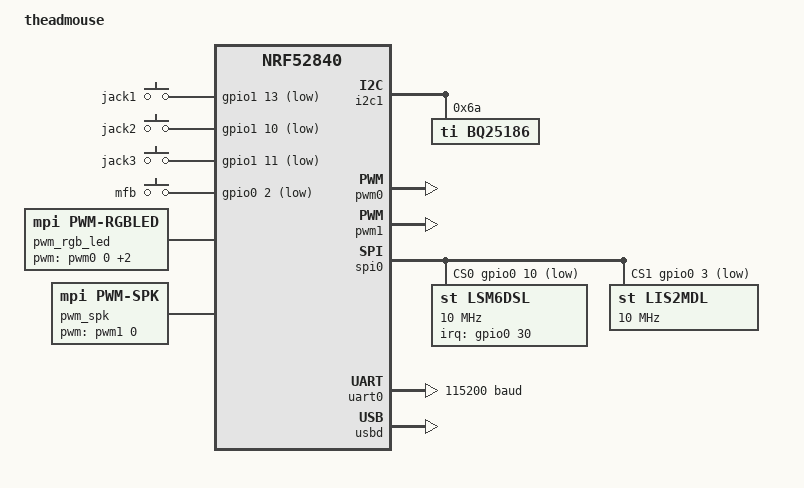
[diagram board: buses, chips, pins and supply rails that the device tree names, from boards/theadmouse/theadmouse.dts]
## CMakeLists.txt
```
cmake_minimum_required(VERSION 3.20.0)

find_package(Zephyr)
project(theadmouse)

target_sources(app PRIVATE
		src/main.c

		src/app_power_manager.c
		src/at_cmd.c
		src/at_cmd_param.c
		src/ble.c
		src/ble_hid_service.c
		src/button_manager.c
		src/cmd_uart.c
		src/headmouse_input.c
		src/motion_engine.c
		src/slot_manager.c

		src/MadgwickAHRS/MadgwickAHRS.c

		src/keymaps/KeyboardLayout_da_DK.c
		src/keymaps/KeyboardLayout_de_DE.c
		src/keymaps/KeyboardLayout_en_US.c
		src/keymaps/KeyboardLayout_es_ES.c
		src/keymaps/KeyboardLayout_fr_FR.c
		src/keymaps/KeyboardLayout_hu_HU.c
		src/keymaps/KeyboardLayout_it_IT.c
		src/keymaps/KeyboardLayout_pt_BR.c
		src/keymaps/KeyboardLayout_pt_PT.c
		src/keymaps/KeyboardLayout_sv_SE.c
)

if(CONFIG_TELEMETRY)
	target_sources(app PRIVATE src/telemetry_uart.c)
endif()

if(CONFIG_LSM6DSL_CUSTOM)
	target_sources(app PRIVATE
		drivers/sensor/st/lsm6dsl/lsm6dsl.c
		drivers/sensor/st/lsm6dsl/lsm6dsl_i2c.c
		drivers/sensor/st/lsm6dsl/lsm6dsl_spi.c
	)

	if (CONFIG_LSM6DSL_TRIGGER)
		target_sources(app PRIVATE drivers/sensor/st/lsm6dsl/lsm6dsl_trigger.c)
	endif()

	if (CONFIG_LSM6DSL_SENSORHUB)
		target_sources(app PRIVATE drivers/sensor/st/lsm6dsl/lsm6dsl_trigger.c)
	endif()
endif()

if(CONFIG_LIS2MDL_CUSTOM)
	target_include_directories(app PRIVATE ${ZEPHYR_BASE}/drivers/sensor/st/stmemsc)

	target_sources(app PRIVATE drivers/sensor/st/lis2mdl/lis2mdl.c)

	if (CONFIG_LIS2MDL_TRIGGER)
		target_sources(app PRIVATE drivers/sensor/st/lis2mdl/lis2mdl_trigger.c)
	endif()
endif()

if(CONFIG_CHARGER_BQ2518X_CUSTOM)
	target_include_directories(app PRIVATE ${ZEPHYR_BASE}/drivers/charger)
	target_sources(app PRIVATE drivers/charger/charger_bq2518x.c)
endif()
```

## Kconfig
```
mainmenu "theadmouse"

menu "TheadMouse Configuration"

config APP_PROJECT_NAME
	string "Project name"
	default "TheadMouse"
	help
		Human-readable name of this firmware/application

config TELEMETRY
	bool "Enable telemetry"
	default n
	help
		Enable the telemetry data stream using a separate USB CDC port.

if TELEMETRY
	config TELEMETRY_PLAINTEXT
	bool "Enable plaintext telemetry"
	default n
	help
		If enabled telemetry will be sent in plaintext which can be slow.

	config TELEMETRY_DECIM_FACTOR
		int "Telemetry decimation factor"
		default 10
		range 1 1000
		help
			Sets the downsampling ration for the telemetry stream.

			Data will be sent out only every Nth IMU data trigger.
endif # TELEMETRY

menu "Logging Configuration"

module = THEADMOUSE
module-str = theadmouse
source "subsys/logging/Kconfig.template.log_config"

module = AT
module-str = at
source "subsys/logging/Kconfig.template.log_config"

module = BLE
module-str = ble
source "subsys/logging/Kconfig.template.log_config"

module = BLE_HID_SERVICE
module-str = ble_hid_service
source "subsys/logging/Kconfig.template.log_config"

module = BUTTON_MANAGER
module-str = button_manager
source "subsys/logging/Kconfig.template.log_config"

module = CMD_UART
module-str = cmd_uart
source "subsys/logging/Kconfig.template.log_config"

module = HEADMOUSE_INPUT
module-str = headmouse_input
source "subsys/logging/Kconfig.template.log_config"

module = MOTION_ENGINE
module-str = motion_engine
source "subsys/logging/Kconfig.template.log_config"

module = SLOT_MANAGER
module-str = slot_manager
source "subsys/logging/Kconfig.template.log_config"

module = TELEMETRY_UART
module-str = telemetry_uart
source "subsys/logging/Kconfig.template.log_config"

module = APP_POWER_MANAGER
module-str = app_power_manager
source "subsys/logging/Kconfig.template.log_config"

endmenu

rsource "drivers/sensor/st/lsm6dsl/Kconfig"
rsource "drivers/sensor/st/lis2mdl/Kconfig"
rsource "drivers/charger/Kconfig"

endmenu

source "Kconfig.zephyr"
```

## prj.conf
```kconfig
# Enable boot delay to not miss log messages at startup
# TODO: With the bigger log buffer this might not be needed anymore
# CONFIG_BOOT_DELAY=1000

# Enable logging
CONFIG_LOG=y
CONFIG_LOG_MODE_DEFERRED=y
CONFIG_LOG_BUFFER_SIZE=8192
CONFIG_LOG_SPEED=y
CONFIG_LOG_OUTPUT_FORMAT_LINUX_TIMESTAMP=y

CONFIG_THEADMOUSE_LOG_LEVEL_DBG=y
CONFIG_AT_LOG_LEVEL_DEFAULT=y
CONFIG_BLE_LOG_LEVEL_DEFAULT=y
CONFIG_BLE_HID_SERVICE_LOG_LEVEL_DBG=y
CONFIG_BUTTON_MANAGER_LOG_LEVEL_DEFAULT=y
CONFIG_CMD_UART_LOG_LEVEL_DBG=y
CONFIG_HEADMOUSE_INPUT_LOG_LEVEL_DBG=y
CONFIG_MOTION_ENGINE_LOG_LEVEL_DEFAULT=y
CONFIG_SLOT_MANAGER_LOG_LEVEL_DEFAULT=y
CONFIG_TELEMETRY_UART_LOG_LEVEL_DEFAULT=y
CONFIG_APP_POWER_MANAGER_LOG_LEVEL_DBG=y

# Enable the shell
CONFIG_SHELL=y

# CONFIG_USE_SEGGER_RTT=y
# CONFIG_SHELL_BACKEND_RTT=y

# Enable reboot functionality
CONFIG_REBOOT=y

# Enabled retainend memory support
CONFIG_RETAINED_MEM=y

# Bluetooth related settings
CONFIG_BT=y
CONFIG_BT_MAX_CONN=2
CONFIG_BT_HCI_ERR_TO_STR=y
# Allow up to 10 paired devices and overwrite the oldest
CONFIG_BT_MAX_PAIRED=10
CONFIG_BT_KEYS_OVERWRITE_OLDEST=y
CONFIG_BT_SMP_ALLOW_UNAUTH_OVERWRITE=y

# Needed to increase the MTU using `bt_gatt_exchange_mtu()`
CONFIG_BT_GATT_CLIENT=y

# 0x3c0 (960) = Generic Human Interface Device
CONFIG_BT_DEVICE_APPEARANCE=960
CONFIG_BT_DEVICE_NAME="TheadMouse"
CONFIG_BT_DEVICE_NAME_DYNAMIC=y
CONFIG_BT_PERIPHERAL=y
CONFIG_BT_SETTINGS=y
CONFIG_BT_SMP=y
CONFIG_BT_BAS=y
CONFIG_BT_DIS=y

CONFIG_BT_CONN_CTX=y

CONFIG_BT_HIDS=y
CONFIG_BT_HIDS_DEFAULT_PERM_RW_ENCRYPT=y

CONFIG_BT_GATT_UUID16_POOL_SIZE=40
CONFIG_BT_GATT_CHRC_POOL_SIZE=20

# Settings and settings storage configuration
CONFIG_SETTINGS=y
CONFIG_SETTINGS_SHELL=y
CONFIG_SETTINGS_FILE_PATH="/lfs/settings"
CONFIG_FLASH=y
CONFIG_FLASH_SHELL=y
CONFIG_FLASH_MAP=y
CONFIG_FLASH_MAP_SHELL=y

CONFIG_FILE_SYSTEM=y
CONFIG_FILE_SYSTEM_SHELL=y
CONFIG_FILE_SYSTEM_LITTLEFS=y

CONFIG_SENSOR_SHELL=y

CONFIG_HWINFO_SHELL=y
CONFIG_HW_ID_LIBRARY=y

CONFIG_GPIO_SHELL=y

CONFIG_UART_LINE_CTRL=y

CONFIG_USB_DEVICE_PRODUCT="TheadMouse"

CONFIG_INPUT=y
CONFIG_INPUT_GPIO_KEYS=y
CONFIG_INPUT_SHELL=y

CONFIG_HEAP_MEM_POOL_SIZE=8192

CONFIG_USE_DT_CODE_PARTITION=y
CONFIG_BUILD_OUTPUT_UF2=y

# TODO: This probably belongs to the board specific file
CONFIG_LSM6DSL=n
CONFIG_LSM6DSL_CUSTOM=y
CONFIG_LSM6DSL_THREAD_PRIORITY=-2
CONFIG_LSM6DSL_ENABLE_TEMP=y

CONFIG_LIS2MDL=n
CONFIG_LIS2MDL_CUSTOM=y

CONFIG_FPU=y

CONFIG_ZSL=y
CONFIG_ZSL_SINGLE_PRECISION=y
CONFIG_ZSL_PLATFORM_OPT=2
CONFIG_ZSL_BOUNDS_CHECKS=n

CONFIG_TELEMETRY=n
CONFIG_TELEMETRY_PLAINTEXT=n
CONFIG_TELEMETRY_DECIM_FACTOR=10

CONFIG_PM_DEVICE=y
CONFIG_PM_DEVICE_SHELL=y
CONFIG_PM_DEVICE_RUNTIME=n
CONFIG_PM_DEVICE_SYSTEM_MANAGED=n

CONFIG_POWEROFF=y

CONFIG_I2C_SHELL=y

# This also probably belongs to the board specific file
CONFIG_CHARGER=y
CONFIG_CHARGER_BQ2518X_CUSTOM=y

# CONFIG_THREAD_ANALYZER=y
# CONFIG_THREAD_ANALYZER_AUTO=y
# CONFIG_THREAD_ANALYZER_RUN_UNLOCKED=y
```

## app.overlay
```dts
&i2c0 {
	adxl345@53 {
		reg = <0x53>;
		compatible = "adi,adxl345";
		status = "okay";
	};

	hmc5883l@1e {
		reg = <0x1e>;
		compatible = "honeywell,hmc5883l";
		status = "okay";
	};
};

&i2c0_default {
	// Enable internal pull-ups on the I2C port
	group1 {
		bias-pull-up;
	};
};
```

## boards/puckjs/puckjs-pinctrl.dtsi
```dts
/*
 * Copyright (c) 2025 Martin Pietryka
 *
 * SPDX-License-Identifier: Apache-2.0
 */

&pinctrl {
	i2c_gyro_default: i2c_gyro_default {
		group1 {
			psels = <NRF_PSEL(TWIM_SCL, 0, 15)>,
				<NRF_PSEL(TWIM_SDA, 0, 14)>;
			bias-pull-up;
		};
	};

	i2c_gyro_sleep: i2c_gyro_sleep {
		group1 {
			psels = <NRF_PSEL(TWIM_SCL, 0, 15)>,
				<NRF_PSEL(TWIM_SDA, 0, 14)>;
			low-power-enable;
		};
	};

	pwm0_default: pwm0_default {
		group1 {
			psels = <NRF_PSEL(PWM_OUT0, 0, 5)>,	// LED_R
				<NRF_PSEL(PWM_OUT1, 0, 4)>,	// LED_G
				<NRF_PSEL(PWM_OUT2, 0, 3)>;	// LED_B
		};
	};

	pwm0_sleep: pwm0_sleep {
		group1 {
			psels = <NRF_PSEL(PWM_OUT0, 0, 5)>,	// LED_R
				<NRF_PSEL(PWM_OUT1, 0, 4)>,	// LED_G
				<NRF_PSEL(PWM_OUT2, 0, 3)>;	// LED_B
			low-power-enable;
		};
	};
};
```

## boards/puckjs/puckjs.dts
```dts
/*
 * Copyright (c) 2025 Martin Pietryka
 *
 * SPDX-License-Identifier: Apache-2.0
 */

/dts-v1/;
#include <nordic/nrf52832_qfaa.dtsi>
#include "puckjs-pinctrl.dtsi"

/ {
	model = "puckjs";
	compatible = "mpi,puckjs";

	aliases {
		red-pwm-led = &red_pwm_led;
		green-pwm-led = &green_pwm_led;
		blue-pwm-led = &blue_pwm_led;
	};

	chosen {
		zephyr,console = &uart0;
		zephyr,shell-uart = &uart0;
		zephyr,sram = &sram0;
		zephyr,flash = &flash0;
		zephyr,code-partition = &slot0_partition;
	};

	pwmleds {
		compatible = "pwm-leds";

		red_pwm_led: pwm_led_0 {
			pwms = <&pwm0 0 PWM_MSEC(20) PWM_POLARITY_NORMAL>;
		};

		green_pwm_led: pwm_led_1 {
			pwms = <&pwm0 1 PWM_MSEC(20) PWM_POLARITY_NORMAL>;
		};

		blue_pwm_led: pwm_led_2 {
			pwms = <&pwm0 2 PWM_MSEC(20) PWM_POLARITY_NORMAL>;
		};
	};
};

&flash0 {
	partitions {
		compatible = "fixed-partitions";
		#address-cells = <1>;
		#size-cells = <1>;

		boot_partition: partition@0 {
			label = "mcuboot";
			reg = <0x00000000 0xc000>;
		};

		slot0_partition: partition@c000 {
			label = "image-0";
			reg = <0x0000c000 0x37000>;
		};

		slot1_partition: partition@43000 {
			label = "image-1";
			reg = <0x00043000 0x37000>;
		};

		storage_partition: partition@7a000 {
			label = "storage";
			reg = <0x0007a000 0x00006000>;
		};
	};
};

&gpio0 {
	status = "okay";
};

&gpiote {
	status = "okay";
};

&i2c0 {
	status = "okay";
	pinctrl-0 = <&i2c_gyro_default>;
	pinctrl-1 = <&i2c_gyro_sleep>;
	pinctrl-names = "default", "sleep";

	clock-frequency = <I2C_BITRATE_FAST>;

	lsm6dsl: lsm6dsl@6a {
		compatible = "st,lsm6dsl";
		reg = <0x6a>;
		irq-gpios = <&gpio0 13 GPIO_ACTIVE_HIGH>;
	};
};

&pwm0 {
	status = "okay";
	pinctrl-0 = <&pwm0_default>;
	pinctrl-1 = <&pwm0_sleep>;
	pinctrl-names = "default", "sleep";
};
```

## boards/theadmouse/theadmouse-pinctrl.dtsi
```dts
/*
 * Copyright (c) 2025 Martin Pietryka
 *
 * SPDX-License-Identifier: Apache-2.0
 */

&pinctrl {
	i2c1_default: i2c1_default {
		group1 {
			psels = <NRF_PSEL(TWIM_SCL, 0, 17)>,
				<NRF_PSEL(TWIM_SDA, 0, 20)>;
		};
	};

	i2c1_sleep: i2c1_sleep {
		group1 {
			psels = <NRF_PSEL(TWIM_SCL, 0, 17)>,
				<NRF_PSEL(TWIM_SDA, 0, 20)>;
			low-power-enable;
		};
	};

	pwm0_default: pwm0_default {
		group1 {
			psels = <NRF_PSEL(PWM_OUT0, 0, 26)>,	// LED_R
				<NRF_PSEL(PWM_OUT1, 0, 6)>,	// LED_G
				<NRF_PSEL(PWM_OUT2, 0, 8)>;	// LED_B
			nordic,invert;
		};
	};

	pwm0_sleep: pwm0_sleep {
		group1 {
			psels = <NRF_PSEL(PWM_OUT0, 0, 26)>,	// LED_R
				<NRF_PSEL(PWM_OUT1, 0, 6)>,	// LED_G
				<NRF_PSEL(PWM_OUT2, 0, 8)>;	// LED_B
			low-power-enable;
		};
	};

	pwm1_default: pwm1_default {
		group1 {
			psels = <NRF_PSEL(PWM_OUT0, 0, 15)>;	// SPK_PWM
		};
	};

	pwm1_sleep: pwm1_sleep {
		group1 {
			psels = <NRF_PSEL(PWM_OUT0, 0, 15)>;	// SPK_PWM
			low-power-enable;
		};
	};

	spi0_default: spi0_default {
		group1 {
			psels = <NRF_PSEL(SPIM_SCK, 1, 9)>,
				<NRF_PSEL(SPIM_MOSI, 0, 5)>,
				<NRF_PSEL(SPIM_MISO, 0, 4)>;
		};
	};

	spi0_sleep: spi0_sleep {
		group1 {
			psels = <NRF_PSEL(SPIM_SCK, 1, 9)>,
				<NRF_PSEL(SPIM_MOSI, 0, 5)>,
				<NRF_PSEL(SPIM_MISO, 0, 4)>;
			low-power-enable;
		};
	};


	uart0_default: uart0_default {
		group1 {
			psels = <NRF_PSEL(UART_TX, 0, 22)>;
		};
		group2 {
			psels = <NRF_PSEL(UART_RX, 0, 24)>;
			bias-pull-up;
		};
	};

	uart0_sleep: uart0_sleep {
		group1 {
			psels = <NRF_PSEL(UART_TX, 0, 22)>,
				<NRF_PSEL(UART_RX, 0, 24)>;
			low-power-enable;
		};
	};
};
```

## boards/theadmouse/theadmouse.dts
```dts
/*
 * Copyright (c) 2025 Martin Pietryka
 *
 * SPDX-License-Identifier: Apache-2.0
 */

/dts-v1/;

#define NRF_DEFAULT_IRQ_PRIORITY 5

#include <nordic/nrf52840_qiaa.dtsi>
#include "theadmouse_partition.dtsi"
#include "theadmouse-pinctrl.dtsi"

/ {
	model = "theadmouse";
	compatible = "mpi,theadmouse";

	aliases {
	};

	chosen {
		zephyr,console = &uart0;
		zephyr,shell-uart = &uart0;

		// TODO: Move these to a `zephyr,user` node instead or use device-tree
		// bindings for all the managers/services that need these devices.
		mpi,buttons = &buttons;
		mpi,cmd-uart = &uart_cmd;
		mpi,telemetry-uart = &uart_telemetry;

		mpi,imu = &lsm6dsl;
		mpi,mag = &lis2mdl;

		mpi,spk-pwm = &pwm_spk;
		mpi,rgb-led-pwm = &pwm_rgb_led;

		mpi,charger = &bq25186;
	};

	buttons: buttons {
		compatible = "gpio-keys";
		debounce-interval-ms = <15>;

		jack1 {
			gpios = <&gpio1 13 (GPIO_PULL_UP | GPIO_ACTIVE_LOW)>;
			zephyr,code = <INPUT_BTN_0>;
		};

		jack2 {
			gpios = <&gpio1 10 (GPIO_PULL_UP | GPIO_ACTIVE_LOW)>;
			zephyr,code = <INPUT_BTN_1>;
		};

		jack3 {
			gpios = <&gpio1 11 (GPIO_PULL_UP | GPIO_ACTIVE_LOW)>;
			zephyr,code = <INPUT_BTN_2>;
		};

		mfb {
			gpios = <&gpio0 2 (GPIO_PULL_UP | GPIO_ACTIVE_LOW)>;
			zephyr,code = <INPUT_BTN_3>;
		};
	};

	pwm_rgb_led: pwmrgbled {
		compatible = "mpi,pwm-rgbled";

		pwms = <&pwm0 0 PWM_MSEC(20) PWM_POLARITY_INVERTED>,	// Red
			<&pwm0 1 PWM_MSEC(20) PWM_POLARITY_INVERTED>,	// Green
			<&pwm0 2 PWM_MSEC(20) PWM_POLARITY_INVERTED>;	// Blue
	};

	pwm_spk: pwmspk {
		compatible = "mpi,pwm-spk";
		pwms = <&pwm1 0 PWM_MSEC(20) PWM_POLARITY_NORMAL>;
	};
};

&gpio0 {
	status = "okay";
};

&gpio1 {
	status = "okay";
};

&gpiote {
	status = "okay";
	// Increase priority from 5 to 2
	interrupts = <6 2>;
};

&i2c1 {
	status = "okay";
	pinctrl-0 = <&i2c1_default>;
	pinctrl-1 = <&i2c1_sleep>;
	pinctrl-names = "default", "sleep";

	bq25186: bq25186@6a {
		compatible = "ti,bq25186";
		reg = <0x6a>;

		constant-charge-current-max-microamp = <250000>;
		battery-discharge-current-limit-milliamp = <500>;

		// We do not have an NTC connected so disable this.
		ntc-charger-control-disable;

		// Also disable the push button functionality as we do not
		// have a push button connected. This will also save a little
		// bit of power.
		push-button-disable;
	};
};

&pwm0 {
	status = "okay";
	pinctrl-0 = <&pwm0_default>;
	pinctrl-1 = <&pwm0_sleep>;
	pinctrl-names = "default", "sleep";
};

&pwm1 {
	status = "okay";
	pinctrl-0 = <&pwm1_default>;
	pinctrl-1 = <&pwm1_sleep>;
	pinctrl-names = "default", "sleep";
};

&reg1 {
	regulator-initial-mode = <NRF5X_REG_MODE_DCDC>;
};

&spi0 {
	status = "okay";
	pinctrl-0 = <&spi0_default>;
	pinctrl-1 = <&spi0_sleep>;
	pinctrl-names = "default", "sleep";

	cs-gpios = <&gpio0 10 GPIO_ACTIVE_LOW>,	// SENS_IMU_CS
		   <&gpio0 3 GPIO_ACTIVE_LOW>;	// SENS_MAG_CS

	lsm6dsl: lsm6dsl@0 {
		compatible = "st,lsm6dsl";
		reg = <0>;
		spi-max-frequency = <10000000>;
		irq-gpios = <&gpio0 30 GPIO_ACTIVE_HIGH>;
	};

	lis2mdl: lis2mdl@1 {
		compatible = "st,lis2mdl";
		reg = <1>;
		spi-max-frequency = <10000000>;
		// In 4-wire SPI mode the DRDY signal is MISO
		// irq-gpios = <&gpio0 29 GPIO_ACTIVE_HIGH>;
	};
};

&uart0 {
	status = "okay";
	current-speed = <115200>;
	pinctrl-0 = <&uart0_default>;
	pinctrl-1 = <&uart0_sleep>;
	pinctrl-names = "default", "sleep";
};

&uicr {
	nfct-pins-as-gpios;
};

&usbd {
	status = "okay";

	// FABI style AT configuration interface
	uart_cmd: cdc_acm_uart0 {
		compatible = "zephyr,cdc-acm-uart";
	};

	// Data stream from the IMU, magnetometer, filter output, etc. used
	// for debugging and visualization
	uart_telemetry: cdc_acm_uart1 {
		compatible = "zephyr,cdc-acm-uart";
		status = "disabled";
	};
};
```

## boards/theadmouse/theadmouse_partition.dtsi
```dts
/ {
	chosen {
		zephyr,sram = &sram0;
		zephyr,flash = &flash0;
		zephyr,code-partition = &app_partition;
	};

	fstab {
		compatible = "zephyr,fstab";
		lfs: lfs {
			compatible = "zephyr,fstab,littlefs";
			mount-point = "/lfs";
			partition = <&littlefs_storage_partition>;
			automount;
			read-size = <16>;
			prog-size = <16>;
			cache-size = <64>;
			lookahead-size = <32>;
			block-cycles = <512>;
		};
	};
};

&flash0 {
	// NOTE: Keep this in sync with `pm_static.yml`
	partitions {
		compatible = "fixed-partitions";
		#address-cells = <1>;
		#size-cells = <1>;

		boot_partition: partition@0 {
			label = "boot";
			reg = <0x00000000 0x0000C000>;
		};

		app_partition: partition@c000 {
			label = "app";
			reg = <0x0000C000 0x000D4000>;
		};

		littlefs_storage_partition: partition@e0000 {
			label = "littlefs_storage";
			reg = <0x000E0000 0x00020000>;
		};
	};
};
```

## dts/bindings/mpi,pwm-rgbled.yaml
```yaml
# Copyright (c) 2026 Martin Pietryka
# SPDX-License-Identifier: Apache-2.0

description: PWM-driven an RGB LED.

compatible: "mpi,pwm-rgbled"

include: base.yaml

properties:
  pwms:
    required: true
    type: phandle-array
    description: Exactly 3 PWM specifiers driving the RGB LED.
```

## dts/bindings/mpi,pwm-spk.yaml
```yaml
# Copyright (c) 2026 Martin Pietryka
# SPDX-License-Identifier: Apache-2.0

description: PWM-driven speaker.

compatible: "mpi,pwm-spk"

include: base.yaml

properties:
  pwms:
    required: true
    type: phandle-array
    description: PWM specifier driving the speaker.
```

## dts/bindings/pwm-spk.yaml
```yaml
# Copyright (c) 2026 Martin Pietryka
# SPDX-License-Identifier: Apache-2.0

description: PWM-driven speaker.

compatible: "pwm-spk"

include: base.yaml

properties:
  pwms:
    required: true
    type: phandle-array
    description: PWM specifier driving the speaker.
```

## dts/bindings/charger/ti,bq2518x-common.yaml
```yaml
# Copyright 2024 Google LLC
# SPDX-License-Identifier: Apache-2.0

include: [battery.yaml, i2c-device.yaml]

properties:
  constant-charge-current-max-microamp:
    type: int
    default: 0
    description: |
      Charge current set at init time in uA, available range is 5 mA to 800 mA.
      The value specified will be rounded down to the closest implemented
      value. If set to 0 (default) skip setting the charge current value at
      driver initialization.

  constant-charge-voltage-max-microvolt:
    type: int
    default: 4200000
    description: |
      The maximum voltage that the battery will be charged at, defaults to
      4.2V, matching the device default reset configuration.

  re-charge-threshold-millivolt:
    type: int
    enum:
      - 100
      - 200
    default: 100
    description: |
      The voltage below the maximum charge voltage at which the battery will
      resume charging after falling from the max. Defaults to 100 mV, matching
      the device default reset configuration.

  precharge-voltage-threshold-microvolt:
    type: int
    enum:
      - 2800000
      - 3000000
    default: 3000000
    description: |
      Threshold at which voltage to switch to constant current charge.

  vsys-target-regulation:
    type: string
    enum:
      - "Battery Tracking"
      - "4V4"
      - "4V5"
      - "4V6"
      - "4V7"
      - "4V8"
      - "4V9"
      - "Vin Passthrough"
    default: "4V5"
    description: |
      Target voltage for the SYS regulation loop. Defaults to 4.5V, matching
      the device default reset configuration.

  battery-discharge-current-limit-milliamp:
    type: int
    enum:
      - 500
      - 1000
      - 1500
      - 3000
    default: 3000
    description:
      Battery discharge current limit. If the current through the battery FET
      exceeds this value, the discharge FET is turned off. Default matches the
      register reset value.

  battery-undervoltage-lockout-millivolt:
    type: int
    enum:
      - 3000
      - 2800
      - 2600
      - 2400
      - 2200
      - 2000
    default: 3000
    description:
      Battery undervoltage lockout threshold (falling). If the voltage on the
      BAT pin falls below this value, the BAT to SYS path will be disengaged.
      There is a 150 mV hysterisis before the path will be re-enabled. Default
      matches the register reset value.

  ntc-charger-control-disable:
    type: boolean
    description: |
      Disable thermistor control over the charger. Alerts are still generated.
      Clears the TS_EN bit in the control register.

  push-button-disable:
      type: boolean
      description: |
        Disable the push button and reset functionality when in active battery.
        Clears the EN_PUSH bit in the SHIP_RST register.
```

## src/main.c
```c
// SPDX-License-Identifier: GPL-3.0-or-later

#include  <stdlib.h>

#include <zephyr/kernel.h>
#include <zephyr/device.h>

#include <zephyr/drivers/charger.h>
#include <zephyr/drivers/flash.h>
#include <zephyr/drivers/retained_mem.h>

#include <zephyr/shell/shell.h>
#include <zephyr/sys/reboot.h>
#include <zephyr/logging/log.h>

#include "app_power_manager.h"
#include "at_cmd.h"
#include "ble.h"
#include "button_manager.h"
#include "cmd_uart.h"
#include "motion_engine.h"
#include "slot_manager.h"
#include "telemetry_uart.h"

// TODO: Define use-cases and behavior for pairing, re-pairing,
// and connection to multiple devices. (General vs. Limited Discoverable)

LOG_MODULE_REGISTER(theadmouse, CONFIG_THEADMOUSE_LOG_LEVEL);

int main(void)
{
	int ret;

	LOG_INF("Tina was here ^_^");

	ret = slot_manager_init();
	if (ret < 0) {
		LOG_ERR("Slot manager initialization failed");
	}

	ret = ble_init();
	if (ret < 0) {
		LOG_ERR("BLE initialization failed");
	}

#ifdef CONFIG_TELEMETRY
	ret = telemetry_uart_init();
	if (ret < 0) {
		LOG_ERR("telemetry uart initialization failed");
	}
#endif

	ret = button_manager_init();
	if (ret < 0) {
		LOG_ERR("button manager initialization fialed");
	}

	ret = cmd_uart_init();
	if (ret < 0) {
		LOG_ERR("cmd uart initialization failed");
	}

	ret = motion_engine_init();
	if (ret < 0) {
		LOG_ERR("motion engine initialization failed");
	}

	ret = app_pm_init();
	if (ret < 0) {
		LOG_ERR("App power-manager initialization failed");
	}

	k_sleep(K_FOREVER);

	return 0;
}

#if defined(CONFIG_SHELL)
static int cmd_at(const struct shell *shell, size_t argc, char **argv)
{
	if (argc < 2) {
		shell_print(shell, "Usage: AT <command_line>");
		return -EINVAL;
	}

	char line[AT_LINE_MAX + 1] = {0};
	size_t offset = 0;

	for (size_t i = 1; i < argc; i++) {
		size_t len = strlen(argv[i]);

		if ((offset + len) >= (sizeof(line) - 1)) {
			shell_print(shell, "Error: command too long");
			return -EMSGSIZE;
		}

		memcpy(line + offset, argv[i], len);
		offset += len;

		if ((i + 1) < argc)
			line[offset++] = ' ';
	}

	line[offset] = '\0';

	const struct at_cmd *cmd = NULL;
	struct at_cmd_param cmd_param = { 0 };

	int ret = at_parse_line_inplace(line, &cmd, &cmd_param, AT_PARSER_FLAG_ALLOW_NO_PREFIX);
	if (ret < 0) {
		shell_error(shell, "Failed to parse line: %d", ret);
		return ret;
	}

	ret = at_cmd_enqueue_and_wait_ptr(cmd, &cmd_param, K_FOREVER);
	if (ret < 0) {
		shell_error(shell, "AT command failed: %d", ret);
		return ret;
	}

	return 0;
}
SHELL_CMD_REGISTER(AT, NULL, "Parse and execute AT command", cmd_at);

static int reboot_handler(const struct shell *shell, size_t argc, char **argv)
{
	shell_print(shell, "Rebooting");
	k_msleep(100);
	sys_reboot(SYS_REBOOT_COLD);
}
SHELL_CMD_REGISTER(reboot, NULL, "Perform a reboot", reboot_handler);

static int cmd_app_pm_ra_handler(const struct shell *shell, size_t argc, char **argv)
{
	app_pm_report_activity();
	return 0;
}

static int cmd_app_pm_idle_handler(const struct shell *shell, size_t argc, char **argv)
{
	app_pm_debug_execute_idle_work_handler();
	return 0;
}

SHELL_STATIC_SUBCMD_SET_CREATE(
	app_pm_cmds,
	SHELL_CMD(ra, NULL, "Report activity", cmd_app_pm_ra_handler),
	SHELL_CMD(idle, NULL, "Execute idle work handler (simulate idle timeout)", cmd_app_pm_idle_handler),
	SHELL_SUBCMD_SET_END
);
SHELL_CMD_REGISTER(app_pm, &app_pm_cmds, "Application power-management commands", NULL);

static int dfureboot_handler(const struct shell *shell, size_t argc, char **argv)
{
	const struct device *gpregret1 = DEVICE_DT_GET(DT_NODELABEL(gpregret1));

	if (!device_is_ready(gpregret1)) {
		shell_error(shell, "Device is not ready");
		return -ENODEV;
	}

	#define DFU_MAGIC_UF2_RESET 0x57
	uint8_t val = DFU_MAGIC_UF2_RESET;
	int ret = retained_mem_write(gpregret1, 0, &val, sizeof(val));
	if (ret < 0) {
		shell_error(shell, "Failed to write gpregret1: %d", ret);
		return ret;
	}

	shell_print(shell, "Rebooting into DFU mode");
	k_msleep(100);
	sys_reboot(SYS_REBOOT_COLD);

	return 0;
}
SHELL_CMD_REGISTER(dfureboot, NULL, "Reboot into DFU mode (UF2 and CDC)", dfureboot_handler);

static int cmd_slot_manager_play_tone_hanlder(const struct shell *shell, size_t argc, char **argv)
{
	if (argc < 2 || argc > 3) {
		shell_help(shell);
		return SHELL_CMD_HELP_PRINTED;
	}

	int freq = CLAMP(atoi(argv[1]), 0, 24000);
	int duration_ms = 1000;
	if (argc == 3)
		duration_ms = CLAMP(atoi(argv[2]), 0, 10000);

	shell_print(shell, "Enqueueing tone playback with %d Hz for %d ms", freq, duration_ms);
	return slot_manager_play_tone(freq, duration_ms);
}

static int cmd_slot_manager_set_rgb_led_handler(const struct shell *shell, size_t argc, char **argv)
{
	if (argc != 4) {
		shell_help(shell);
		return SHELL_CMD_HELP_PRINTED;
	}

	int r = CLAMP(atoi(argv[1]), 0, 255);
	int g = CLAMP(atoi(argv[2]), 0, 255);
	int b = CLAMP(atoi(argv[3]), 0, 255);

	shell_print(shell, "Setting RGB LED color: %d, %d, %d", r, g, b);

	return slot_manager_set_rgb_led_color(r, g, b);
}

SHELL_STATIC_SUBCMD_SET_CREATE(
	slot_manager_cmds,
	SHELL_CMD_ARG(play_tone, NULL,
			"Play tone on the PWM speaker\n"
			"Usage: play_tone <frequency> [duration]",
			cmd_slot_manager_play_tone_hanlder, 2, 1),
	SHELL_CMD_ARG(set_rgb_led, NULL,
			"Set RGB LED color\n"
			"Usage: set_rgb_led <red> <green> <blue>",
			cmd_slot_manager_set_rgb_led_handler, 4, 0),
	SHELL_SUBCMD_SET_END
);
SHELL_CMD_REGISTER(slot_manager, &slot_manager_cmds, "Slot manager commands", NULL);

#if defined(CONFIG_CHARGER)
static const char *charger_status_to_str(enum charger_status status)
{
	switch(status) {
		case CHARGER_STATUS_CHARGING:
			return "charging";
		case CHARGER_STATUS_DISCHARGING:
			return "discharging";
		case CHARGER_STATUS_NOT_CHARGING:
			return "not charging";
		case CHARGER_STATUS_FULL:
			return "full";
		case CHARGER_STATUS_UNKNOWN:
		default:
			return "unknown";
	}
}

static const struct device *dev_charger = DEVICE_DT_GET(DT_CHOSEN(mpi_charger));

static int cmd_charger_status_handler(const struct shell *shell, size_t argc, char **argv)
{
	int ret;
	union charger_propval val;

	ret = charger_get_prop(dev_charger, CHARGER_PROP_ONLINE, &val);
	if (ret < 0) {
		return ret;
	}
	shell_print(shell, "Online  : %s", val.online != CHARGER_ONLINE_OFFLINE ? "yes" : "no");

	ret = charger_get_prop(dev_charger, CHARGER_PROP_STATUS, &val);
	if (ret < 0) {
		return ret;
	}
	shell_print(shell, "State   : %s", charger_status_to_str(val.status));

	ret = charger_get_prop(dev_charger, CHARGER_PROP_CONSTANT_CHARGE_VOLTAGE_UV, &val);
	if (ret < 0) {
		return ret;
	}
	shell_print(shell, "Voltage : %u mV", val.const_charge_voltage_uv / 1000);

	ret = charger_get_prop(dev_charger, CHARGER_PROP_CONSTANT_CHARGE_CURRENT_UA, &val);
	if (ret < 0) {
		return ret;
	}
	shell_print(shell, "Current : %u mA", val.const_charge_current_ua / 1000);

	return 0;
}

SHELL_STATIC_SUBCMD_SET_CREATE(
	charger_cmds,
	SHELL_CMD(status, NULL, "Show the charger status", cmd_charger_status_handler),
	SHELL_SUBCMD_SET_END
);
SHELL_CMD_REGISTER(charger, &charger_cmds, "Charger commands", NULL);
#endif

#if 0
// TODO: We should not erase the whole flash now as we have LittleFS running on
// it. So think about what to erase exactly.
static int wipenvs_handler(const struct shell *shell, size_t argc, char **argv)
{
	const struct flash_area *fa;

	int ret = flash_area_open(FIXED_PARTITION_ID(storage_partition), &fa);
	if (ret < 0) {
		shell_error(shell, "Failed open settings flash area: %d", ret);
		return ret;
	}

	ret = flash_area_erase(fa, 0, fa->fa_size);
	if (ret < 0) {
		shell_error(shell, "Failed to erase settings flash area: %d", ret);
		return ret;
	}

	flash_area_close(fa);

	shell_print(shell, "Erased settings flash area, rebooting");
	k_msleep(100);
	sys_reboot(SYS_REBOOT_COLD);
}
SHELL_CMD_REGISTER(wipenvs, NULL, "Wipe the NVS settings partition and reboot", wipenvs_handler);
#endif
#endif
```

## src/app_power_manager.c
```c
#include <zephyr/kernel.h>
#include <zephyr/logging/log.h>
#include <zephyr/logging/log_ctrl.h>
#include <zephyr/pm/device.h>

#include "app_power_manager.h"

#include "ble.h"
#include "motion_engine.h"
#include "slot_manager.h"

LOG_MODULE_REGISTER(app_power_manager, CONFIG_APP_POWER_MANAGER_LOG_LEVEL);

#if 0
static const k_timeout_t app_pm_idle_timeout = K_SECONDS(30);
#else
static const k_timeout_t app_pm_idle_timeout = K_FOREVER;
#endif

static struct k_spinlock app_pm_spinlock;
static uint32_t app_pm_lock_mask = 0;

// This is the idle state of the power manager
static bool app_pm_target_idle = false;

// The actual idle state of the app components, the `app_pm_idle_state_sync_work_handler`
// will take `app_pm_target_idle`, resume/suspend the componenets and then updated
// `app_pm_actual_idle` accordingly.
static bool app_pm_actual_idle = false;

static const struct device *uart_dev = DEVICE_DT_GET(DT_CHOSEN(zephyr_console));

// TODO: Currently the consumers are hardcoded here on suspend/resume, we probably should
// implement something more nicer where consumers can register suspend/resume callbacks.
static void app_pm_suspend_app_componenets(void)
{
	LOG_INF("Suspending app components");
	int ret = motion_engine_suspend();
	if (ret < 0) {
		LOG_ERR("Failed to suspend motion engine: %d", ret);
	}

	ret = ble_suspend();
	if (ret < 0) {
		LOG_ERR("Failed to suspend BLE: %d", ret);
	}

	ret = slot_manager_suspend();
	if (ret < 0) {
		LOG_ERR("Failed to suspend slot manager: %d", ret);
	}

	// The UART peripheral actually consumes ~450 uA when it's not disabled
	// so we for sure want to disable it in the idle mode.
	LOG_INF("Suspending the UART");
	log_thread_trigger();
	k_msleep(100);

	ret = pm_device_action_run(uart_dev, PM_DEVICE_ACTION_SUSPEND);
	if (ret < 0) {
		LOG_ERR("Failed to suspend the UART: %d", ret);
	}
}

static void app_pm_resume_app_componenets(void)
{
	int ret = pm_device_action_run(uart_dev, PM_DEVICE_ACTION_RESUME);
	if (ret < 0) {
		LOG_ERR("Failed to resume the UART: %d", ret);
	}

	LOG_INF("Resuming app components");
	ret = motion_engine_resume();
	if (ret < 0) {
		LOG_ERR("Failed to resume motion engine: %d", ret);
	}

	ret = ble_resume();
	if (ret < 0) {
		LOG_ERR("Failed to resume BLE: %d", ret);
	}

	ret = slot_manager_resume();
	if (ret < 0) {
		LOG_ERR("Failed to resume slot manager: %d", ret);
	}
}

static void app_pm_idle_state_sync_work_handler(struct k_work *work)
{
	do {
		k_spinlock_key_t key = k_spin_lock(&app_pm_spinlock);
		bool target_idle = app_pm_target_idle;

		if (target_idle == app_pm_actual_idle) {
			// We are already at the requested state, exit the loop
			k_spin_unlock(&app_pm_spinlock, key);
			break;
		}
		k_spin_unlock(&app_pm_spinlock, key);

		if (target_idle) {
			// TODO: Add logging here
			app_pm_suspend_app_componenets();
		} else {
			// TODO: Add logging here
			app_pm_resume_app_componenets();
		}

		// Update the actual idle state after the componenets have been suspended/resumed
		key = k_spin_lock(&app_pm_spinlock);
		app_pm_actual_idle = target_idle;
		k_spin_unlock(&app_pm_spinlock, key);

		// In the meantime `app_pm_target_idle` might have changed so
		// we run another iteration of the check from above.
	} while (1);
}
static K_WORK_DEFINE(app_pm_idle_state_sync_work, app_pm_idle_state_sync_work_handler);

static void app_pm_idle_work_handler(struct k_work *work)
{
	LOG_DBG("Enter");

	k_spinlock_key_t key = k_spin_lock(&app_pm_spinlock);

	if (app_pm_lock_mask == 0 && !app_pm_target_idle) {
		app_pm_target_idle = true;
		k_work_submit(&app_pm_idle_state_sync_work);
	}

	k_spin_unlock(&app_pm_spinlock, key);
}
static K_WORK_DELAYABLE_DEFINE(app_pm_idle_work, app_pm_idle_work_handler);

void app_pm_debug_execute_idle_work_handler(void)
{
	app_pm_idle_work_handler(NULL);
}

void app_pm_lock_acquire(enum app_pm_lock_reason reason)
{
	k_spinlock_key_t key = k_spin_lock(&app_pm_spinlock);

	k_work_cancel_delayable(&app_pm_idle_work);

	app_pm_lock_mask |= BIT(reason);

	if (app_pm_target_idle) {
		app_pm_target_idle = false;
		k_work_submit(&app_pm_idle_state_sync_work);
	}

	k_spin_unlock(&app_pm_spinlock, key);
}

void app_pm_lock_release(enum app_pm_lock_reason reason)
{
	k_spinlock_key_t key = k_spin_lock(&app_pm_spinlock);

	app_pm_lock_mask &= ~BIT(reason);

	if (app_pm_lock_mask == 0) {
		k_work_reschedule(&app_pm_idle_work, app_pm_idle_timeout);
	}

	k_spin_unlock(&app_pm_spinlock, key);
}

void app_pm_report_activity(void)
{
	k_spinlock_key_t key = k_spin_lock(&app_pm_spinlock);

	if (app_pm_target_idle) {
		app_pm_target_idle = false;
		k_work_submit(&app_pm_idle_state_sync_work);
	}

	if (app_pm_lock_mask == 0) {
		k_work_reschedule(&app_pm_idle_work, app_pm_idle_timeout);
	}

	k_spin_unlock(&app_pm_spinlock, key);
}

int app_pm_init(void)
{
	// Schedule the idle timer initially
	k_work_reschedule(&app_pm_idle_work, app_pm_idle_timeout);

	LOG_INF("App power-management init done");
	return 0;
}
```

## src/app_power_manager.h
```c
#pragma once

enum app_pm_lock_reason {
	// Periodic USB reporting (enabled/disabled with AT comamnds SR/ER)
	APP_PM_LOCK_REPORT	= 0,

	APP_PM_LOCK_MAX,
};

int app_pm_init(void);
void app_pm_lock_acquire(enum app_pm_lock_reason reason);
void app_pm_lock_release(enum app_pm_lock_reason reason);
void app_pm_report_activity(void);

void app_pm_debug_execute_idle_work_handler(void);
```

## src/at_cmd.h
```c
#pragma once

#include <stdint.h>
#include <zephyr/kernel.h>

#include "at_cmd_param.h"

#define AT_LINE_MAX	255
#define AT_EOL		"\r\n"

enum at_parser_flags {
	AT_PARSER_FLAG_NONE		= 0,
	AT_PARSER_FLAG_ALLOW_NO_PREFIX	= (1 << 0),
};

enum at_cmd_internal {
	AT_CMD_INTERNAL_BIT		= 0x8000u,
	AT_CMD_INTERNAL_EMPTY_COMMAND	= AT_CMD_INTERNAL_BIT | 0,
	AT_CMD_INTERNAL_LOAD_SLOT_INDEX	= AT_CMD_INTERNAL_BIT | 1,
};

static const char * const at_cmd_internal_names[] = {
	[0] = "@EMPTY_COMMAND",
	[1] = "@LOAD_SLOT_INDEX",
};

// TODO: Maybe have some param flags like `AT_PARAM_RADIX_HEX`, `AT_PARAM_RADIX_DEC`, etc.

typedef int (*at_cmd_fn)(const struct at_cmd_param *arg, void *ctx);


#define MAKE2CC(x) ((uint16_t)(#x[0]) | ((uint16_t)(#x[1]) << 8))

static inline uint16_t at_code_from_str(const char buf[2])
{
	return ((uint16_t)buf[0]) | ((uint16_t)buf[1] << 8);
}

static inline const char *at_code_to_str(uint16_t code, char buf[3])
{
	if (code & AT_CMD_INTERNAL_BIT) {
		size_t idx = (code & ~AT_CMD_INTERNAL_BIT);
		if (idx < ARRAY_SIZE(at_cmd_internal_names) && at_cmd_internal_names[idx] != NULL) {
			return at_cmd_internal_names[idx];
		}
		return "@INTERNAL";
	}

	buf[0] = code & 0xFF;
	buf[1] = code >> 8;
	buf[2] = '\0';
	return buf;
}

enum at_cmd_flags {
	AT_CMD_FLAG_NONE	= 0,
	AT_CMD_FLAG_OPT_PARAM	= (1 << 0),
	AT_CMD_FLAG_HOLD	= (1 << 0),
};

struct at_cmd {
	uint16_t code;
	enum at_cmd_flags flags;
	enum at_cmd_param_type param_type;
	at_cmd_fn cb;
	void *ctx;
};

// TODO: Remove this API, callers should just manually run parse + enqueue
int at_handle_line_inplace(char *s, enum at_parser_flags flags);
int at_handle_line_copy(const char *s, enum at_parser_flags flags);

int at_parse_line_inplace(char *s, const struct at_cmd **out_cmd, struct at_cmd_param *out_cmd_param, enum at_parser_flags flags);
int at_parse_line_copy(const char *s, const struct at_cmd **out_cmd, struct at_cmd_param *out_cmd_param, enum at_parser_flags flags);

// TODO: Remove the `at_cmd_*_code()` variant of the API

int at_cmd_enqueue_code(const uint16_t code, const struct at_cmd_param *param, k_timeout_t timeout);
int at_cmd_enqueue_and_wait_code(const uint16_t code, const struct at_cmd_param *param, k_timeout_t timeout);
int at_cmd_enqueue_ptr(const struct at_cmd *cmd, const struct at_cmd_param *param, k_timeout_t timeout);
int at_cmd_enqueue_and_wait_ptr(const struct at_cmd *cmd, const struct at_cmd_param *param, k_timeout_t timeout);

int at_cmd_dispatch_code(const uint16_t code, const struct at_cmd_param *param);
int at_cmd_dispatch_ptr(const struct at_cmd *cmd, const struct at_cmd_param *param);

int at_format_cmd(char *out_buf, size_t buf_len, const uint16_t code, const struct at_cmd_param *param);

int at_reply(const char *s);
int at_replyf(const char *fmt, ...);
```

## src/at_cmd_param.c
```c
#include <zephyr/kernel.h>
#include <zephyr/logging/log.h>

#include "at_cmd_param.h"

LOG_MODULE_DECLARE(at, LOG_LEVEL_DBG);

int at_cmd_param_clone(struct at_cmd_param *dst, const struct at_cmd_param *src, struct k_heap *heap)
{
	*dst = *src;

	if (src->type == AT_CMD_PARAM_TYPE_STR && src->flags & AT_CMD_PARAM_FLAG_HEAPSTR) {
		size_t len = strlen(src->val.hs);

		if (!heap)
			return -EINVAL;

		char *p = k_heap_alloc(heap, len + 1, K_NO_WAIT);
		if (!p)
			return -ENOMEM;

		strcpy(p, src->val.hs);
		dst->val.hs = p;
	}

	return 0;
}

void at_cmd_param_free(struct at_cmd_param *p, struct k_heap *heap)
{
	if (p->type == AT_CMD_PARAM_TYPE_STR && p->flags & AT_CMD_PARAM_FLAG_HEAPSTR) {
		if (p->val.hs)
			k_heap_free(heap, p->val.hs);
	}
	*p = (struct at_cmd_param){ 0 };
}
```

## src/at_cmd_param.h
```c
#pragma once

#include <stdint.h>
#include <string.h>

#define AT_CMD_PARAM_INLINE_STR_SIZE	16
#define AT_CMD_PARAM_MAX_KEYS		16

enum at_cmd_param_type {
	AT_CMD_PARAM_TYPE_NONE	= 0,
	AT_CMD_PARAM_TYPE_INT,
	AT_CMD_PARAM_TYPE_UINT,
	AT_CMD_PARAM_TYPE_STR,
	AT_CMD_PARAM_TYPE_KEYS,
};

enum at_cmd_param_flags {
	AT_CMD_PARAM_FLAG_NONE		= 0,
	AT_CMD_PARAM_FLAG_HEAPSTR	= (1 << 0),
};

struct at_cmd_param {
	enum at_cmd_param_type type;
	enum at_cmd_param_flags flags;

	// TODO: Drop the `val` and just access the union members directly
	union {
		int32_t	i;
		uint32_t ui;
		char is[AT_CMD_PARAM_INLINE_STR_SIZE];
		char *hs;
		uint8_t keys[AT_CMD_PARAM_MAX_KEYS];
	} val;
};

static inline enum at_cmd_param_type at_cmd_param_get_type(const struct at_cmd_param *p)
{
	return p->type;
}

static inline void at_cmd_param_set_type(struct at_cmd_param *p, enum at_cmd_param_type type)
{
	// TODO: If it was a heap-string this is probably the place to free it here before setting
	// a new type, maybe?
	p->type = type;
}

int at_cmd_param_clone(struct at_cmd_param *dst, const struct at_cmd_param *src, struct k_heap *heap);
void at_cmd_param_free(struct at_cmd_param *p, struct k_heap *heap);

static inline int at_cmd_param_get_int(const struct at_cmd_param *p, int32_t *out)
{
	if (!p || !out) return -EINVAL;
	if (at_cmd_param_get_type(p) != AT_CMD_PARAM_TYPE_INT) return -EINVAL;
	*out = p->val.i;
	return 0;
}

static inline int at_cmd_param_set_int(struct at_cmd_param *p, int32_t val)
{
	if (!p) return -EINVAL;
	at_cmd_param_set_type(p, AT_CMD_PARAM_TYPE_INT);
	p->val.i = val;
	return 0;
}

static inline int at_cmd_param_get_uint(const struct at_cmd_param *p, uint32_t *out)
{
	if (!p || !out) return -EINVAL;
	if (at_cmd_param_get_type(p) != AT_CMD_PARAM_TYPE_UINT) return -EINVAL;
	*out = p->val.ui;
	return 0;
}

static inline int at_cmd_param_set_uint(struct at_cmd_param *p, uint32_t val)
{
	if (!p) return -EINVAL;
	at_cmd_param_set_type(p, AT_CMD_PARAM_TYPE_UINT);
	p->val.ui = val;
	return 0;
}

static inline int at_cmd_param_get_str(const struct at_cmd_param *p, const char **out)
{
	if (!p || !out) return -EINVAL;
	if (at_cmd_param_get_type(p) != AT_CMD_PARAM_TYPE_STR) return -EINVAL;

	if (p->flags & AT_CMD_PARAM_FLAG_HEAPSTR)
		*out = p->val.hs;
	else
		*out = p->val.is;

	return 0;
}

// TODO: Figure out how to handle heap string allocations and when to allocate and free
// them.
static inline int at_cmd_param_set_str(struct at_cmd_param *p, const char *val)
{
	if (!p || !val) return -EINVAL;

	size_t len = strlen(val);
	if (len >= AT_CMD_PARAM_INLINE_STR_SIZE) {
		return -EOVERFLOW;
	}
	at_cmd_param_set_type(p, AT_CMD_PARAM_TYPE_STR);
	memcpy(p->val.is, val, len + 1);
	return 0;
}

static inline int at_cmd_param_get_keys(const struct at_cmd_param *p, const uint8_t **out)
{
	if (!p || !out) return -EINVAL;
	if (at_cmd_param_get_type(p) != AT_CMD_PARAM_TYPE_KEYS) return -EINVAL;

	*out = p->val.keys;

	return AT_CMD_PARAM_MAX_KEYS;
}

static inline int at_cmd_param_set_keys(struct at_cmd_param *p, uint8_t *val, size_t len)
{
	if (!p || !val) return -EINVAL;

	if (len > AT_CMD_PARAM_MAX_KEYS) {
		return -EOVERFLOW;
	}
	at_cmd_param_set_type(p, AT_CMD_PARAM_TYPE_KEYS);
	memcpy(p->val.keys, val, len);

	return 0;
}
```

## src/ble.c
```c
#include <zephyr/bluetooth/bluetooth.h>
#include <zephyr/bluetooth/gatt.h>
#include <zephyr/bluetooth/hci.h>

#include <zephyr/drivers/hwinfo.h>

#include <zephyr/settings/settings.h>

#include <zephyr/logging/log.h>

#include "ble_hid_service.h"

LOG_MODULE_REGISTER(ble, CONFIG_THEADMOUSE_LOG_LEVEL);

static const struct bt_data le_adv[] = {
	BT_DATA_BYTES(BT_DATA_FLAGS, (BT_LE_AD_GENERAL | BT_LE_AD_NO_BREDR)),
	BT_DATA_BYTES(BT_DATA_GAP_APPEARANCE,
		      (CONFIG_BT_DEVICE_APPEARANCE >> 0) & 0xff,
		      (CONFIG_BT_DEVICE_APPEARANCE >> 8) & 0xff),
	BT_DATA_BYTES(BT_DATA_UUID16_ALL,
			BT_UUID_16_ENCODE(BT_UUID_HIDS_VAL),
			BT_UUID_16_ENCODE(BT_UUID_BAS_VAL)),
};

// Not `const` because we want to change the name before starting the advertisement
static struct bt_data le_scan_rsp[] = {
	BT_DATA(BT_DATA_NAME_COMPLETE, CONFIG_BT_DEVICE_NAME, sizeof(CONFIG_BT_DEVICE_NAME) - 1),
};

// TODO: We should prevent multiple client connections at the same time, or be able to manage multiple
// simultaneous clients.
static int ble_start_adv(void)
{
	le_scan_rsp[0].data = bt_get_name();
	le_scan_rsp[0].data_len = strlen(bt_get_name());

	return bt_le_adv_start(BT_LE_ADV_CONN_FAST_1, le_adv, ARRAY_SIZE(le_adv), le_scan_rsp, ARRAY_SIZE(le_scan_rsp));
}

static int bt_init_friendly_name(void)
{
	uint8_t device_id[8];
	ssize_t ret = hwinfo_get_device_id(device_id, ARRAY_SIZE(device_id));

	if (ret != ARRAY_SIZE(device_id)) {
		LOG_ERR("Failed to get unique device ID: %d", ret);
		return -EIO;
	}

	char name[CONFIG_BT_DEVICE_NAME_MAX + 1];
	snprintf(name, sizeof(name), "%s-%02x%02x", CONFIG_BT_DEVICE_NAME, device_id[ret-2], device_id[ret-1]);

	int res = bt_set_name(name);
	if (res < 0) {
		LOG_ERR("Failed to set BT name: %d", res);
		return res;
	}

	LOG_INF("Device name: %s", bt_get_name());

	return 0;
}

static void mtu_exchange_cb(struct bt_conn *conn, uint8_t err, struct bt_gatt_exchange_params *params)
{
	LOG_INF("Updated MTU is: %u", bt_gatt_get_mtu(conn));
}

static struct bt_gatt_exchange_params mtu_exchange_params = {
	.func = mtu_exchange_cb,
};

// TODO: Check if we need to flush any HID queues or so when a device (re-)connected.
static void connected(struct bt_conn *conn, uint8_t err)
{
	char addr[BT_ADDR_LE_STR_LEN];

	bt_addr_le_to_str(bt_conn_get_dst(conn), addr, sizeof(addr));

	if (err) {
		LOG_ERR("Failed to connect to %s, err: %s (%#04x)", addr, bt_hci_err_to_str(err), err);
		return;
	}

	LOG_INF("Connected to %s", addr);

	LOG_INF("MTU is: %u", bt_gatt_get_mtu(conn));
	int ret = bt_gatt_exchange_mtu(conn, &mtu_exchange_params);
	if (ret < 0) {
		LOG_ERR("Failed to increase MTU: %d", ret);
	}

	// TODO: This configures the connection interval to 7.5 ms which
	// works nicely with a 100 Hz update rate, however we should make
	// this somehow more connfigurable
	ret = bt_conn_le_param_update(conn, BT_LE_CONN_PARAM(6, 6, 0, 400));
	if (ret < 0) {
		LOG_ERR("Failed do adjust connection interval: %d", ret);
	}

	ret = ble_hid_service_connected(conn);
	if (ret < 0) {
		LOG_ERR("Failed to notify HID service about connection: %d", ret);
	}
}

static void disconnected(struct bt_conn *conn, uint8_t reason)
{
	char addr[BT_ADDR_LE_STR_LEN];

	bt_addr_le_to_str(bt_conn_get_dst(conn), addr, sizeof(addr));

	LOG_INF("Disconnected from %s, reason: %s (%#04x)", addr, bt_hci_err_to_str(reason), reason);

	int ret = ble_hid_service_disconnected(conn);
	if (ret < 0)
		LOG_ERR("Failed to notify HID service about disconnection: %d", ret);

	ret = ble_start_adv();
	if (ret < 0)
		LOG_ERR("Failed to start BLE advertisement: %d", ret);
}

BT_CONN_CB_DEFINE(conn_callbacks) = {
	.connected = connected,
	.disconnected = disconnected,
};

int ble_init(void)
{
	int ret;

	ret = ble_hid_service_init();
	if (ret < 0) {
		LOG_ERR("Failed to start BLE HID service: %d", ret);
		return ret;
	}

	ret = bt_enable(NULL);
	if (ret < 0) {
		LOG_ERR("Failed to enable BT: %d", ret);
		return ret;
	}

	ret = settings_load_subtree("bt");
	if (ret < 0) {
		LOG_ERR("Failed to load 'bt' settings subtree: %d", ret);
		return ret;
	}

	ret = bt_init_friendly_name();
	if (ret < 0) {
		LOG_ERR("Failed to set friendly BT name: %d", ret);
	}

	ret = ble_start_adv();
	if (ret < 0) {
		LOG_ERR("Failed to start BLE advertisement: %d", ret);
		return ret;
	}

	LOG_INF("Started BLE advertisement, device name: %s", bt_get_name());

	return 0;
}

// TODO: After the device was in suspend for a while it seems that my notebook does
// not automatically reconnect to it.
// TODO: Consider instead lowering the connection interval and such to a minimum.
int ble_suspend(void)
{
	LOG_INF("Suspending");

	int ret = bt_disable();
	if (ret < 0) {
		LOG_ERR("Failed to disable BT: %d", ret);
		return ret;
	}

	return 0;
}

int ble_resume(void)
{
	LOG_INF("Resuming");
	return ble_init();
}
```

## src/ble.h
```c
#pragma once

int ble_init(void);
int ble_suspend(void);
int ble_resume(void);
```

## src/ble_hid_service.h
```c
#pragma once

#include <zephyr/bluetooth/bluetooth.h>

#include "hm_hid_evt.h"

int ble_hid_service_init(void);

int ble_hid_service_connected(struct bt_conn *conn);
int ble_hid_service_disconnected(struct bt_conn *conn);

int ble_hid_queue_evt(struct hm_hid_evt *evt, k_timeout_t timeout);
```

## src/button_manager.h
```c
#pragma once

#include "at_cmd.h"

int button_manager_init(void);

int button_manager_set_mapping(size_t idx, const uint16_t at_code, const uint16_t at_code_release, const struct at_cmd_param *at_param);
int button_manager_get_mapping(size_t idx, uint16_t *at_code, struct at_cmd_param **at_param);
int button_manager_delete_mapping(size_t idx);

char *button_manager_get_button_state_string(char *buf, size_t size);

extern const size_t button_manager_num_buttons;

static inline bool button_manager_valid_index(size_t idx)
{
	return idx < button_manager_num_buttons;
}

static inline size_t button_manager_get_num_buttons(void)
{
	return button_manager_num_buttons;
}
```
